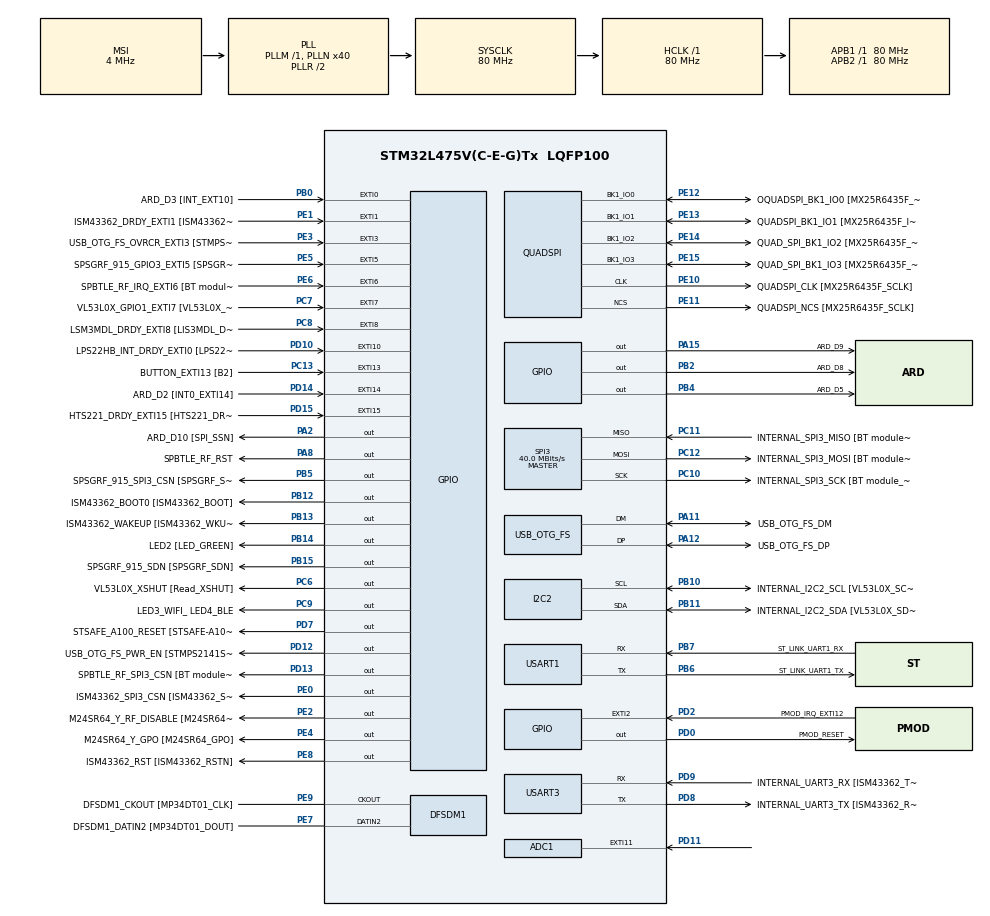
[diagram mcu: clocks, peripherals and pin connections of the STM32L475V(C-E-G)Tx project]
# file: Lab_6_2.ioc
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ADC1.Channel-0\#ChannelRegularConversion=ADC_CHANNEL_TEMPSENSOR
ADC1.ClockPrescaler=ADC_CLOCK_SYNC_PCLK_DIV4
ADC1.DMAContinuousRequests=ENABLE
ADC1.ExternalTrigConv=ADC_EXTERNALTRIG_T1_TRGO
ADC1.NbrOfConversionFlag=1
ADC1.OffsetNumber-0\#ChannelRegularConversion=ADC_OFFSET_NONE
ADC1.Rank-0\#ChannelRegularConversion=1
ADC1.SamplingTime-0\#ChannelRegularConversion=ADC_SAMPLETIME_640CYCLES_5
ADC1.master=1
Dma.ADC1.0.Direction=DMA_PERIPH_TO_MEMORY
Dma.ADC1.0.Instance=DMA1_Channel1
Dma.ADC1.0.MemDataAlignment=DMA_MDATAALIGN_HALFWORD
Dma.ADC1.0.MemInc=DMA_MINC_ENABLE
Dma.ADC1.0.Mode=DMA_CIRCULAR
Dma.ADC1.0.PeriphDataAlignment=DMA_PDATAALIGN_HALFWORD
Dma.ADC1.0.PeriphInc=DMA_PINC_DISABLE
Dma.ADC1.0.Priority=DMA_PRIORITY_LOW
Dma.Request0=ADC1
FREERTOS.Tasks01=defaultTask,24,256,StartDefaultTask,Default,NULL,Dynamic,NULL,NULL;myTask02,24,256,StartTask02,Default,NULL,Dynamic,NULL,NULL
Mcu.Family=STM32L4
Mcu.Name=STM32L475V(C-E-G)Tx
Mcu.Package=LQFP100
NVIC.ADC1_2_IRQn=true\:5\:0\:false\:false\:true\:true\:true\:true\:true
NVIC.DMA1_Channel1_IRQn=true\:5\:0\:false\:false\:true\:true\:false\:true\:true
NVIC.EXTI15_10_IRQn=true\:5\:0\:false\:false\:true\:true\:true\:true\:true
NVIC.EXTI9_5_IRQn=true\:5\:0\:false\:false\:true\:true\:true\:true\:true
NVIC.PriorityGroup=NVIC_PRIORITYGROUP_4
NVIC.TIM2_IRQn=true\:15\:0\:false\:false\:true\:false\:false\:true\:true
NVIC.TimeBase=TIM2_IRQn
NVIC.TimeBaseIP=TIM2
PA0.GPIO_Label=ARD_D1 [UART4_TX]
PA0.Signal=UART4_TX
PA1.GPIO_Label=ARD_D0 [UART4_RX]
PA1.Signal=UART4_RX
PA10.GPIO_Label=USB_OTG_FS_ID
PA10.Signal=USB_OTG_FS_ID
PA11.GPIO_Label=USB_OTG_FS_DM
PA11.Mode=Device_Only
PA11.Signal=USB_OTG_FS_DM
PA12.GPIO_Label=USB_OTG_FS_DP
PA12.Mode=Device_Only
PA12.Signal=USB_OTG_FS_DP
PA13\ (JTMS-SWDIO).GPIO_Label=SYS_JTMS_SWDIO
PA13\ (JTMS-SWDIO).Mode=Serial_Wire
PA13\ (JTMS-SWDIO).Signal=SYS_JTMS-SWDIO
PA14\ (JTCK-SWCLK).GPIO_Label=SYS_JTCK_SWCLK
PA14\ (JTCK-SWCLK).Mode=Serial_Wire
PA14\ (JTCK-SWCLK).Signal=SYS_JTCK-SWCLK
PA15\ (JTDI).GPIO_Label=ARD_D9
PA15\ (JTDI).Signal=GPIO_Output
PA2.GPIO_Label=ARD_D10 [SPI_SSN]
PA2.Signal=GPIO_Output
PA3.GPIO_Label=ARD_D4
PA3.Signal=S_TIM2_CH4
PA4.GPIO_Label=ARD_D7
PA4.Signal=ADCx_IN9
PA5.GPIO_Label=ARD_D13 [SPI1_SCK]
PA5.Signal=SPI1_SCK
PA6.GPIO_Label=ARD_D12 [SPI1_MISO]
PA6.Signal=SPI1_MISO
PA7.GPIO_Label=ARD_D11 [SPI1_MOSI]
PA7.Signal=SPI1_MOSI
PA8.GPIO_Label=SPBTLE_RF_RST
PA8.Signal=GPIO_Output
PA9.GPIO_Label=USB_OTG_FS_VBUS [STMPS2141STR_OUT]
PA9.Signal=USB_OTG_FS_VBUS
PB0.GPIO_Label=ARD_D3 [INT_EXT10]
PB0.Signal=GPXTI0
PB1.GPIO_Label=ARD_D6 [ADC1_IN6]
PB1.Signal=ADCx_IN16
PB10.GPIO_Label=INTERNAL_I2C2_SCL [VL53L0X_SCL]
PB10.GPIO_Pu=GPIO_PULLUP
PB10.Mode=I2C
PB10.Signal=I2C2_SCL
PB11.GPIO_Label=INTERNAL_I2C2_SDA [VL53L0X_SDA]
PB11.GPIO_Pu=GPIO_PULLUP
PB11.Mode=I2C
PB11.Signal=I2C2_SDA
PB12.GPIO_Label=ISM43362_BOOT0 [ISM43362_BOOT]
PB12.Signal=GPIO_Output
PB13.GPIO_Label=ISM43362_WAKEUP [ISM43362_WKUP]
PB13.Signal=GPIO_Output
PB14.GPIO_Label=LED2 [LED_GREEN]
PB14.Signal=GPIO_Output
PB15.GPIO_Label=SPSGRF_915_SDN [SPSGRF_SDN]
PB15.Signal=GPIO_Output
PB2.GPIO_Label=ARD_D8
PB2.Signal=GPIO_Output
PB3\ (JTDO-TRACESWO).GPIO_Label=SYS_JTD0_SWO
PB3\ (JTDO-TRACESWO).Signal=SYS_JTDO-SWO
PB4\ (NJTRST).GPIO_Label=ARD_D5
PB4\ (NJTRST).Signal=GPIO_Output
PB5.GPIO_Label=SPSGRF_915_SPI3_CSN [SPSGRF_SPI_CS]
PB5.PinState=GPIO_PIN_SET
PB5.Signal=GPIO_Output
PB6.GPIO_Label=ST_LINK_UART1_TX
PB6.Mode=Asynchronous
PB6.Signal=USART1_TX
PB7.GPIO_Label=ST_LINK_UART1_RX
PB7.Mode=Asynchronous
PB7.Signal=USART1_RX
PB8.GPIO_Label=ARD_D15 [I2C1_SCL]
PB8.Signal=I2C1_SCL
PB9.GPIO_Label=ARD_D14 [I2C1_SDA]
PB9.Signal=I2C1_SDA
PC0.GPIO_Label=ARD_A5 [ADC]
PC0.Signal=ADCx_IN1
PC1.GPIO_Label=ARD_A4 [ADC]
PC1.Signal=ADCx_IN2
PC10.GPIO_Label=INTERNAL_SPI3_SCK [BT module_SPI_SCLK] [ISM43362_SCK]
PC10.Mode=Full_Duplex_Master
PC10.Signal=SPI3_SCK
PC11.GPIO_Label=INTERNAL_SPI3_MISO [BT module_SPI_MISO] [ISM43362_MISO]
PC11.Mode=Full_Duplex_Master
PC11.Signal=SPI3_MISO
PC12.GPIO_Label=INTERNAL_SPI3_MOSI [BT module_SPI_MOSI] [ISM43362_MOSI]
PC12.Mode=Full_Duplex_Master
PC12.Signal=SPI3_MOSI
PC13.GPIO_Label=BUTTON_EXTI13 [B2]
PC13.GPIO_ModeDefaultEXTI=GPIO_MODE_IT_FALLING
PC13.Signal=GPXTI13
PC14-OSC32_IN\ (PC14).Mode=LSE-External-Oscillator
PC14-OSC32_IN\ (PC14).Signal=RCC_OSC32_IN
PC15-OSC32_OUT\ (PC15).Mode=LSE-External-Oscillator
PC15-OSC32_OUT\ (PC15).Signal=RCC_OSC32_OUT
PC2.GPIO_Label=ARD_A3 [ADC]
PC2.Signal=ADCx_IN3
PC3.GPIO_Label=ARD_A2 [ADC]
PC3.Signal=ADCx_IN4
PC4.GPIO_Label=ARD_A1 [ADC]
PC4.Signal=ADCx_IN13
PC5.GPIO_Label=ARD_A0 [ADC]
PC5.Signal=ADCx_IN14
PC6.GPIO_Label=VL53L0X_XSHUT [Read_XSHUT]
PC6.Signal=GPIO_Output
PC7.GPIO_Label=VL53L0X_GPIO1_EXTI7 [VL53L0X_GPIO1]
PC7.Signal=GPXTI7
PC8.GPIO_Label=LSM3MDL_DRDY_EXTI8 [LIS3MDL_DRDY]
PC8.Signal=GPXTI8
PC9.GPIO_Label=LED3_WIFI_ LED4_BLE
PC9.Signal=GPIO_Output
PD0.GPIO_Label=PMOD_RESET
PD0.Signal=GPIO_Output
PD1.GPIO_Label=PMOD_SPI2_SCK
PD1.Signal=SPI2_SCK
PD10.GPIO_Label=LPS22HB_INT_DRDY_EXTI0 [LPS22HB_INT_DRDY] 
PD10.Signal=GPXTI10
PD11.Signal=GPXTI11
PD12.GPIO_Label=USB_OTG_FS_PWR_EN [STMPS2141STR_EN]
PD12.Signal=GPIO_Output
PD13.GPIO_Label=SPBTLE_RF_SPI3_CSN [BT module_SPI_CS]
PD13.PinState=GPIO_PIN_SET
PD13.Signal=GPIO_Output
PD14.GPIO_Label=ARD_D2 [INT0_EXTI14]
PD14.Signal=GPXTI14
PD15.GPIO_Label=HTS221_DRDY_EXTI15 [HTS221_DRDY]
PD15.Signal=GPXTI15
PD2.GPIO_Label=PMOD_IRQ_EXTI12
PD2.Signal=GPXTI2
PD3.GPIO_Label=PMOD_UART2_CTS
PD3.Signal=USART2_CTS
PD4.GPIO_Label=PMOD_UART2_RTS
PD4.Signal=USART2_RTS
PD5.GPIO_Label=PMOD_UART2_TX
PD5.Signal=USART2_TX
PD6.GPIO_Label=PMOD_UART2_RX
PD6.Signal=USART2_RX
PD7.GPIO_Label=STSAFE_A100_RESET [STSAFE-A100_RESET]
PD7.Signal=GPIO_Output
PD8.GPIO_Label=INTERNAL_UART3_TX [ISM43362_RX]
PD8.Mode=Asynchronous
PD8.Signal=USART3_TX
PD9.GPIO_Label=INTERNAL_UART3_RX [ISM43362_TX]
PD9.Mode=Asynchronous
PD9.Signal=USART3_RX
PE0.GPIO_Label=ISM43362_SPI3_CSN [ISM43362_SSN]
PE0.PinState=GPIO_PIN_SET
PE0.Signal=GPIO_Output
PE1.GPIO_Label=ISM43362_DRDY_EXTI1 [ISM43362_DATARDY]
PE1.Signal=GPXTI1
PE10.GPIO_Label=QUADSPI_CLK [MX25R6435F_SCLK]
PE10.Mode=Single Bank
PE10.Signal=QUADSPI_CLK
PE11.GPIO_Label=QUADSPI_NCS [MX25R6435F_SCLK]
PE11.Mode=Single Bank
PE11.Signal=QUADSPI_NCS
PE12.GPIO_Label=OQUADSPI_BK1_IO0 [MX25R6435F_IO0]
PE12.Mode=Single Bank
PE12.Signal=QUADSPI_BK1_IO0
PE13.GPIO_Label=QUADSPI_BK1_IO1 [MX25R6435F_IO1]
PE13.Mode=Single Bank
PE13.Signal=QUADSPI_BK1_IO1
PE14.GPIO_Label=QUAD_SPI_BK1_IO2 [MX25R6435F_IO2]
PE14.Mode=Single Bank
PE14.Signal=QUADSPI_BK1_IO2
PE15.GPIO_Label=QUAD_SPI_BK1_IO3 [MX25R6435F_IO3]
PE15.Mode=Single Bank
PE15.Signal=QUADSPI_BK1_IO3
PE2.GPIO_Label=M24SR64_Y_RF_DISABLE [M24SR64_RFDIS]
PE2.Signal=GPIO_Output
PE3.GPIO_Label=USB_OTG_FS_OVRCR_EXTI3 [STMPS2141STR_FAULT]
PE3.Signal=GPXTI3
PE4.GPIO_Label=M24SR64_Y_GPO [M24SR64_GPO]
PE4.Signal=GPIO_Output
PE5.GPIO_Label=SPSGRF_915_GPIO3_EXTI5 [SPSGRF_GPIO_3]
PE5.Signal=GPXTI5
PE6.GPIO_Label=SPBTLE_RF_IRQ_EXTI6 [BT module_SPI_IRQ]
PE6.Signal=GPXTI6
PE7.GPIO_Label=DFSDM1_DATIN2 [MP34DT01_DOUT]
PE7.Signal=S_DATAIN2DFSDM1
PE8.GPIO_Label=ISM43362_RST [ISM43362_RSTN]
PE8.Signal=GPIO_Output
PE9.GPIO_Label=DFSDM1_CKOUT [MP34DT01_CLK]
PE9.Signal=S_CKOUTDFSDM1
PH0-OSC_IN\ (PH0).Mode=HSE-External-Oscillator
PH0-OSC_IN\ (PH0).Signal=RCC_OSC_IN
PH1-OSC_OUT\ (PH1).Mode=HSE-External-Oscillator
PH1-OSC_OUT\ (PH1).Signal=RCC_OSC_OUT
ProjectManager.HeapSize=0x200
ProjectManager.StackSize=0x400
ProjectManager.TargetToolchain=STM32CubeIDE
QUADSPI.ClockPrescaler=2
QUADSPI.FifoThreshold=4
QUADSPI.FlashSize=23
QUADSPI.SampleShifting=QSPI_SAMPLE_SHIFTING_HALFCYCLE
RCC.ADCFreq_Value=48000000
RCC.AHBFreq_Value=80000000
RCC.APB1Freq_Value=80000000
RCC.APB1TimFreq_Value=80000000
RCC.APB2Freq_Value=80000000
RCC.APB2TimFreq_Value=80000000
RCC.CortexFreq_Value=80000000
RCC.HCLKFreq_Value=80000000
RCC.HSE_VALUE=8000000
RCC.HSI_VALUE=16000000
RCC.MSI_VALUE=4000000
RCC.PLLN=40
RCC.PLLSAI1N=24
RCC.SYSCLKFreq_VALUE=80000000
RCC.SYSCLKSource=RCC_SYSCLKSOURCE_PLLCLK
RCC.USBFreq_Value=48000000
RCC.VCOOutputFreq_Value=160000000
SH.ADCx_IN1.0=ADC1_IN1
SH.ADCx_IN13.0=ADC1_IN13
SH.ADCx_IN14.0=ADC1_IN14
SH.ADCx_IN16.0=ADC1_IN16
SH.ADCx_IN2.0=ADC1_IN2
SH.ADCx_IN3.0=ADC1_IN3
SH.ADCx_IN4.0=ADC1_IN4
SH.ADCx_IN9.0=ADC1_IN9
SH.S_CKOUTDFSDM1.0=DFSDM1_CKOUT,CKOUT
SH.S_CKOUTDFSDM1.1=DFSDM1_CKOUT,PDM_SPI_Input_from_ch12_and_Internal_Clock
SH.S_DATAIN2DFSDM1.0=DFSDM1_DATIN2,PDM_SPI_Input_from_ch12_and_Internal_Clock
SH.S_TIM2_CH4.0=TIM2_CH4
SPI3.CalculateBaudRate=40.0 MBits/s
SPI3.Direction=SPI_DIRECTION_2LINES
SPI3.Mode=SPI_MODE_MASTER
SPI3.VirtualType=VM_MASTER
TIM1.Period=999
TIM1.Prescaler=3999
TIM1.TIM_MasterOutputTrigger=TIM_TRGO_UPDATE
USART1.VirtualMode-Asynchronous=VM_ASYNC
USART3.VirtualMode-Asynchronous=VM_ASYNC
USB_OTG_FS.VirtualMode=Device_Only
VP_ADC1_TempSens_Input.Mode=IN-TempSens
VP_FREERTOS_VS_CMSIS_V2.Mode=CMSIS_V2
VP_SYS_VS_tim2.Mode=TIM2
VP_TIM1_VS_ClockSourceINT.Mode=Internal
board=B-L475E-IOT01A2

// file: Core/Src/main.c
/* USER CODE BEGIN Header */
/**
  ******************************************************************************
  * @file           : main.c
  * @brief          : Main program body
  ******************************************************************************
  * @attention
  *
  * Copyright (c) 2026 STMicroelectronics.
  * All rights reserved.
  *
  * This software is licensed under terms that can be found in the LICENSE file
  * in the root directory of this software component.
  * If no LICENSE file comes with this software, it is provided AS-IS.
  *
  ******************************************************************************
  */
/* USER CODE END Header */
#include "main.h"
#include "cmsis_os.h"

/* USER CODE BEGIN Includes */
#include <stdio.h>
/* USER CODE END Includes */

ADC_HandleTypeDef hadc1;
DMA_HandleTypeDef hdma_adc1;

DFSDM_Channel_HandleTypeDef hdfsdm1_channel1;

I2C_HandleTypeDef hi2c2;

QSPI_HandleTypeDef hqspi;

SPI_HandleTypeDef hspi3;

TIM_HandleTypeDef htim1;

UART_HandleTypeDef huart1;
UART_HandleTypeDef huart3;

PCD_HandleTypeDef hpcd_USB_OTG_FS;

/* Definitions for defaultTask */
osThreadId_t defaultTaskHandle;
const osThreadAttr_t defaultTask_attributes = {
  .name = "defaultTask",
  .stack_size = 256 * 4,
  .priority = (osPriority_t) osPriorityNormal,
};
/* Definitions for myTask02 */
osThreadId_t myTask02Handle;
const osThreadAttr_t myTask02_attributes = {
  .name = "myTask02",
  .stack_size = 256 * 4,
  .priority = (osPriority_t) osPriorityNormal,
};
/* USER CODE BEGIN PV */
#define SAMPLE_BUFFER_SIZE  256
#define ADC_EVENT_HALF      0x0001U
#define ADC_EVENT_FULL      0x0002U

uint16_t sample_buffer[SAMPLE_BUFFER_SIZE];
/* USER CODE END PV */

void SystemClock_Config(void);
void PeriphCommonClock_Config(void);
static void MX_GPIO_Init(void);
static void MX_DMA_Init(void);
static void MX_DFSDM1_Init(void);
static void MX_I2C2_Init(void);
static void MX_QUADSPI_Init(void);
static void MX_SPI3_Init(void);
static void MX_USART1_UART_Init(void);
static void MX_USART3_UART_Init(void);
static void MX_USB_OTG_FS_PCD_Init(void);
static void MX_ADC1_Init(void);
static void MX_TIM1_Init(void);
void StartDefaultTask(void *argument);
void StartTask02(void *argument);

int main(void)
{

  /* MCU Configuration--------------------------------------------------------*/

  /* Reset of all peripherals, Initializes the Flash interface and the Systick. */
  HAL_Init();

  /* Configure the system clock */
  SystemClock_Config();

  /* Configure the peripherals common clocks */
  PeriphCommonClock_Config();

  /* Initialize all configured peripherals */
  MX_GPIO_Init();
  MX_DMA_Init();
  MX_DFSDM1_Init();
  MX_I2C2_Init();
  MX_QUADSPI_Init();
  MX_SPI3_Init();
  MX_USART1_UART_Init();
  MX_USART3_UART_Init();
  MX_USB_OTG_FS_PCD_Init();
  MX_ADC1_Init();
  MX_TIM1_Init();

  /* Init scheduler */
  osKernelInitialize();

  /* Create the thread(s) */
  /* creation of defaultTask */
  defaultTaskHandle = osThreadNew(StartDefaultTask, NULL, &defaultTask_attributes);

  /* creation of myTask02 */
  myTask02Handle = osThreadNew(StartTask02, NULL, &myTask02_attributes);

  /* USER CODE BEGIN RTOS_THREADS */
  if (HAL_ADCEx_Calibration_Start(&hadc1, ADC_SINGLE_ENDED) != HAL_OK)
  {
    Error_Handler();
  }

  if (HAL_ADC_Start_DMA(&hadc1, (uint32_t *)sample_buffer, SAMPLE_BUFFER_SIZE) != HAL_OK)
  {
    Error_Handler();
  }

  if (HAL_TIM_Base_Start(&htim1) != HAL_OK)
  {
    Error_Handler();
  }
  /* USER CODE END RTOS_THREADS */

  /* Start scheduler */
  osKernelStart();

  /* We should never get here as control is now taken by the scheduler */

  /* Infinite loop */
  while (1)
  {

  }
}

void SystemClock_Config(void)
{
  RCC_OscInitTypeDef RCC_OscInitStruct = {0};
  RCC_ClkInitTypeDef RCC_ClkInitStruct = {0};

  /** Configure the main internal regulator output voltage
  */
  if (HAL_PWREx_ControlVoltageScaling(PWR_REGULATOR_VOLTAGE_SCALE1) != HAL_OK)
  {
    Error_Handler();
  }

  /** Configure LSE Drive Capability
  */
  HAL_PWR_EnableBkUpAccess();
  __HAL_RCC_LSEDRIVE_CONFIG(RCC_LSEDRIVE_LOW);

  /** Initializes the RCC Oscillators according to the specified parameters
  * in the RCC_OscInitTypeDef structure.
  */
  RCC_OscInitStruct.OscillatorType = RCC_OSCILLATORTYPE_LSE|RCC_OSCILLATORTYPE_MSI;
  RCC_OscInitStruct.LSEState = RCC_LSE_ON;
  RCC_OscInitStruct.MSIState = RCC_MSI_ON;
  RCC_OscInitStruct.MSICalibrationValue = 0;
  RCC_OscInitStruct.MSIClockRange = RCC_MSIRANGE_6;
  RCC_OscInitStruct.PLL.PLLState = RCC_PLL_ON;
  RCC_OscInitStruct.PLL.PLLSource = RCC_PLLSOURCE_MSI;
  RCC_OscInitStruct.PLL.PLLM = 1;
  RCC_OscInitStruct.PLL.PLLN = 40;
  RCC_OscInitStruct.PLL.PLLP = RCC_PLLP_DIV7;
  RCC_OscInitStruct.PLL.PLLQ = RCC_PLLQ_DIV2;
  RCC_OscInitStruct.PLL.PLLR = RCC_PLLR_DIV2;
  if (HAL_RCC_OscConfig(&RCC_OscInitStruct) != HAL_OK)
  {
    Error_Handler();
  }

  /** Initializes the CPU, AHB and APB buses clocks
  */
  RCC_ClkInitStruct.ClockType = RCC_CLOCKTYPE_HCLK|RCC_CLOCKTYPE_SYSCLK
                              |RCC_CLOCKTYPE_PCLK1|RCC_CLOCKTYPE_PCLK2;
  RCC_ClkInitStruct.SYSCLKSource = RCC_SYSCLKSOURCE_PLLCLK;
  RCC_ClkInitStruct.AHBCLKDivider = RCC_SYSCLK_DIV1;
  RCC_ClkInitStruct.APB1CLKDivider = RCC_HCLK_DIV1;
  RCC_ClkInitStruct.APB2CLKDivider = RCC_HCLK_DIV1;

  if (HAL_RCC_ClockConfig(&RCC_ClkInitStruct, FLASH_LATENCY_4) != HAL_OK)
  {
    Error_Handler();
  }

  /** Enable MSI Auto calibration
  */
  HAL_RCCEx_EnableMSIPLLMode();
}

void PeriphCommonClock_Config(void)
{
  RCC_PeriphCLKInitTypeDef PeriphClkInit = {0};

  /** Initializes the peripherals clock
  */
  PeriphClkInit.PeriphClockSelection = RCC_PERIPHCLK_USB;
  PeriphClkInit.UsbClockSelection = RCC_USBCLKSOURCE_PLLSAI1;
  PeriphClkInit.PLLSAI1.PLLSAI1Source = RCC_PLLSOURCE_MSI;
  PeriphClkInit.PLLSAI1.PLLSAI1M = 1;
  PeriphClkInit.PLLSAI1.PLLSAI1N = 24;
  PeriphClkInit.PLLSAI1.PLLSAI1P = RCC_PLLP_DIV7;
  PeriphClkInit.PLLSAI1.PLLSAI1Q = RCC_PLLQ_DIV2;
  PeriphClkInit.PLLSAI1.PLLSAI1R = RCC_PLLR_DIV2;
  PeriphClkInit.PLLSAI1.PLLSAI1ClockOut = RCC_PLLSAI1_48M2CLK;
  if (HAL_RCCEx_PeriphCLKConfig(&PeriphClkInit) != HAL_OK)
  {
    Error_Handler();
  }
}

static void MX_ADC1_Init(void)
{

  ADC_MultiModeTypeDef multimode = {0};
  ADC_ChannelConfTypeDef sConfig = {0};

  /** Common config
  */
  hadc1.Instance = ADC1;
  hadc1.Init.ClockPrescaler = ADC_CLOCK_SYNC_PCLK_DIV4;
  hadc1.Init.Resolution = ADC_RESOLUTION_12B;
  hadc1.Init.DataAlign = ADC_DATAALIGN_RIGHT;
  hadc1.Init.ScanConvMode = ADC_SCAN_DISABLE;
  hadc1.Init.EOCSelection = ADC_EOC_SINGLE_CONV;
  hadc1.Init.LowPowerAutoWait = DISABLE;
  hadc1.Init.ContinuousConvMode = DISABLE;
  hadc1.Init.NbrOfConversion = 1;
  hadc1.Init.DiscontinuousConvMode = DISABLE;
  hadc1.Init.ExternalTrigConv = ADC_EXTERNALTRIG_T1_TRGO;
  hadc1.Init.ExternalTrigConvEdge = ADC_EXTERNALTRIGCONVEDGE_RISING;
  hadc1.Init.DMAContinuousRequests = ENABLE;
  hadc1.Init.Overrun = ADC_OVR_DATA_PRESERVED;
  hadc1.Init.OversamplingMode = DISABLE;
  if (HAL_ADC_Init(&hadc1) != HAL_OK)
  {
    Error_Handler();
  }

  /** Configure the ADC multi-mode
  */
  multimode.Mode = ADC_MODE_INDEPENDENT;
  if (HAL_ADCEx_MultiModeConfigChannel(&hadc1, &multimode) != HAL_OK)
  {
    Error_Handler();
  }

  /** Configure Regular Channel
  */
  sConfig.Channel = ADC_CHANNEL_TEMPSENSOR;
  sConfig.Rank = ADC_REGULAR_RANK_1;
  sConfig.SamplingTime = ADC_SAMPLETIME_640CYCLES_5;
  sConfig.SingleDiff = ADC_SINGLE_ENDED;
  sConfig.OffsetNumber = ADC_OFFSET_NONE;
  sConfig.Offset = 0;
  if (HAL_ADC_ConfigChannel(&hadc1, &sConfig) != HAL_OK)
  {
    Error_Handler();
  }

}

static void MX_DFSDM1_Init(void)
{

  hdfsdm1_channel1.Instance = DFSDM1_Channel1;
  hdfsdm1_channel1.Init.OutputClock.Activation = ENABLE;
  hdfsdm1_channel1.Init.OutputClock.Selection = DFSDM_CHANNEL_OUTPUT_CLOCK_SYSTEM;
  hdfsdm1_channel1.Init.OutputClock.Divider = 2;
  hdfsdm1_channel1.Init.Input.Multiplexer = DFSDM_CHANNEL_EXTERNAL_INPUTS;
  hdfsdm1_channel1.Init.Input.DataPacking = DFSDM_CHANNEL_STANDARD_MODE;
  hdfsdm1_channel1.Init.Input.Pins = DFSDM_CHANNEL_FOLLOWING_CHANNEL_PINS;
  hdfsdm1_channel1.Init.SerialInterface.Type = DFSDM_CHANNEL_SPI_RISING;
  hdfsdm1_channel1.Init.SerialInterface.SpiClock = DFSDM_CHANNEL_SPI_CLOCK_INTERNAL;
  hdfsdm1_channel1.Init.Awd.FilterOrder = DFSDM_CHANNEL_FASTSINC_ORDER;
  hdfsdm1_channel1.Init.Awd.Oversampling = 1;
  hdfsdm1_channel1.Init.Offset = 0;
  hdfsdm1_channel1.Init.RightBitShift = 0x00;
  if (HAL_DFSDM_ChannelInit(&hdfsdm1_channel1) != HAL_OK)
  {
    Error_Handler();
  }

}

static void MX_I2C2_Init(void)
{

  hi2c2.Instance = I2C2;
  hi2c2.Init.Timing = 0x00000E14;
  hi2c2.Init.OwnAddress1 = 0;
  hi2c2.Init.AddressingMode = I2C_ADDRESSINGMODE_7BIT;
  hi2c2.Init.DualAddressMode = I2C_DUALADDRESS_DISABLE;
  hi2c2.Init.OwnAddress2 = 0;
  hi2c2.Init.OwnAddress2Masks = I2C_OA2_NOMASK;
  hi2c2.Init.GeneralCallMode = I2C_GENERALCALL_DISABLE;
  hi2c2.Init.NoStretchMode = I2C_NOSTRETCH_DISABLE;
  if (HAL_I2C_Init(&hi2c2) != HAL_OK)
  {
    Error_Handler();
  }

  /** Configure Analogue filter
  */
  if (HAL_I2CEx_ConfigAnalogFilter(&hi2c2, I2C_ANALOGFILTER_ENABLE) != HAL_OK)
  {
    Error_Handler();
  }

  /** Configure Digital filter
  */
  if (HAL_I2CEx_ConfigDigitalFilter(&hi2c2, 0) != HAL_OK)
  {
    Error_Handler();
  }

}

static void MX_QUADSPI_Init(void)
{

  /* QUADSPI parameter configuration*/
  hqspi.Instance = QUADSPI;
  hqspi.Init.ClockPrescaler = 2;
  hqspi.Init.FifoThreshold = 4;
  hqspi.Init.SampleShifting = QSPI_SAMPLE_SHIFTING_HALFCYCLE;
  hqspi.Init.FlashSize = 23;
  hqspi.Init.ChipSelectHighTime = QSPI_CS_HIGH_TIME_1_CYCLE;
  hqspi.Init.ClockMode = QSPI_CLOCK_MODE_0;
  if (HAL_QSPI_Init(&hqspi) != HAL_OK)
  {
    Error_Handler();
  }

}

static void MX_SPI3_Init(void)
{

  /* SPI3 parameter configuration*/
  hspi3.Instance = SPI3;
  hspi3.Init.Mode = SPI_MODE_MASTER;
  hspi3.Init.Direction = SPI_DIRECTION_2LINES;
  hspi3.Init.DataSize = SPI_DATASIZE_4BIT;
  hspi3.Init.CLKPolarity = SPI_POLARITY_LOW;
  hspi3.Init.CLKPhase = SPI_PHASE_1EDGE;
  hspi3.Init.NSS = SPI_NSS_SOFT;
  hspi3.Init.BaudRatePrescaler = SPI_BAUDRATEPRESCALER_2;
  hspi3.Init.FirstBit = SPI_FIRSTBIT_MSB;
  hspi3.Init.TIMode = SPI_TIMODE_DISABLE;
  hspi3.Init.CRCCalculation = SPI_CRCCALCULATION_DISABLE;
  hspi3.Init.CRCPolynomial = 7;
  hspi3.Init.CRCLength = SPI_CRC_LENGTH_DATASIZE;
  hspi3.Init.NSSPMode = SPI_NSS_PULSE_ENABLE;
  if (HAL_SPI_Init(&hspi3) != HAL_OK)
  {
    Error_Handler();
  }

}

static void MX_TIM1_Init(void)
{

  TIM_ClockConfigTypeDef sClockSourceConfig = {0};
  TIM_MasterConfigTypeDef sMasterConfig = {0};

  htim1.Instance = TIM1;
  htim1.Init.Prescaler = 3999;
  htim1.Init.CounterMode = TIM_COUNTERMODE_UP;
  htim1.Init.Period = 999;
  htim1.Init.ClockDivision = TIM_CLOCKDIVISION_DIV1;
  htim1.Init.RepetitionCounter = 0;
  htim1.Init.AutoReloadPreload = TIM_AUTORELOAD_PRELOAD_DISABLE;
  if (HAL_TIM_Base_Init(&htim1) != HAL_OK)
  {
    Error_Handler();
  }
  sClockSourceConfig.ClockSource = TIM_CLOCKSOURCE_INTERNAL;
  if (HAL_TIM_ConfigClockSource(&htim1, &sClockSourceConfig) != HAL_OK)
  {
    Error_Handler();
  }
  sMasterConfig.MasterOutputTrigger = TIM_TRGO_UPDATE;
  sMasterConfig.MasterOutputTrigger2 = TIM_TRGO2_RESET;
  sMasterConfig.MasterSlaveMode = TIM_MASTERSLAVEMODE_DISABLE;
  if (HAL_TIMEx_MasterConfigSynchronization(&htim1, &sMasterConfig) != HAL_OK)
  {
    Error_Handler();
  }

}

static void MX_USART1_UART_Init(void)
{

  huart1.Instance = USART1;
  huart1.Init.BaudRate = 115200;
  huart1.Init.WordLength = UART_WORDLENGTH_8B;
  huart1.Init.StopBits = UART_STOPBITS_1;
  huart1.Init.Parity = UART_PARITY_NONE;
  huart1.Init.Mode = UART_MODE_TX_RX;
  huart1.Init.HwFlowCtl = UART_HWCONTROL_NONE;
  huart1.Init.OverSampling = UART_OVERSAMPLING_16;
  huart1.Init.OneBitSampling = UART_ONE_BIT_SAMPLE_DISABLE;
  huart1.AdvancedInit.AdvFeatureInit = UART_ADVFEATURE_NO_INIT;
  if (HAL_UART_Init(&huart1) != HAL_OK)
  {
    Error_Handler();
  }

}

static void MX_USART3_UART_Init(void)
{

  huart3.Instance = USART3;
  huart3.Init.BaudRate = 115200;
  huart3.Init.WordLength = UART_WORDLENGTH_8B;
  huart3.Init.StopBits = UART_STOPBITS_1;
  huart3.Init.Parity = UART_PARITY_NONE;
  huart3.Init.Mode = UART_MODE_TX_RX;
  huart3.Init.HwFlowCtl = UART_HWCONTROL_NONE;
  huart3.Init.OverSampling = UART_OVERSAMPLING_16;
  huart3.Init.OneBitSampling = UART_ONE_BIT_SAMPLE_DISABLE;
  huart3.AdvancedInit.AdvFeatureInit = UART_ADVFEATURE_NO_INIT;
  if (HAL_UART_Init(&huart3) != HAL_OK)
  {
    Error_Handler();
  }

}

static void MX_USB_OTG_FS_PCD_Init(void)
{

  hpcd_USB_OTG_FS.Instance = USB_OTG_FS;
  hpcd_USB_OTG_FS.Init.dev_endpoints = 6;
  hpcd_USB_OTG_FS.Init.speed = PCD_SPEED_FULL;
  hpcd_USB_OTG_FS.Init.phy_itface = PCD_PHY_EMBEDDED;
  hpcd_USB_OTG_FS.Init.Sof_enable = DISABLE;
  hpcd_USB_OTG_FS.Init.low_power_enable = DISABLE;
  hpcd_USB_OTG_FS.Init.lpm_enable = DISABLE;
  hpcd_USB_OTG_FS.Init.battery_charging_enable = DISABLE;
  hpcd_USB_OTG_FS.Init.use_dedicated_ep1 = DISABLE;
  hpcd_USB_OTG_FS.Init.vbus_sensing_enable = DISABLE;
  if (HAL_PCD_Init(&hpcd_USB_OTG_FS) != HAL_OK)
  {
    Error_Handler();
  }

}

static void MX_DMA_Init(void)
{

  /* DMA controller clock enable */
  __HAL_RCC_DMA1_CLK_ENABLE();

  /* DMA interrupt init */
  /* DMA1_Channel1_IRQn interrupt configuration */
  HAL_NVIC_SetPriority(DMA1_Channel1_IRQn, 5, 0);
  HAL_NVIC_EnableIRQ(DMA1_Channel1_IRQn);

}

static void MX_GPIO_Init(void)
{
  GPIO_InitTypeDef GPIO_InitStruct = {0};

  /* GPIO Ports Clock Enable */
  __HAL_RCC_GPIOE_CLK_ENABLE();
  __HAL_RCC_GPIOC_CLK_ENABLE();
  __HAL_RCC_GPIOH_CLK_ENABLE();
  __HAL_RCC_GPIOA_CLK_ENABLE();
  __HAL_RCC_GPIOB_CLK_ENABLE();
  __HAL_RCC_GPIOD_CLK_ENABLE();

  /*Configure GPIO pin Output Level */
  HAL_GPIO_WritePin(GPIOE, M24SR64_Y_RF_DISABLE_Pin|M24SR64_Y_GPO_Pin|ISM43362_RST_Pin, GPIO_PIN_RESET);

  /*Configure GPIO pin Output Level */
  HAL_GPIO_WritePin(GPIOA, ARD_D10_Pin|SPBTLE_RF_RST_Pin|ARD_D9_Pin, GPIO_PIN_RESET);

  /*Configure GPIO pin Output Level */
  HAL_GPIO_WritePin(GPIOB, ARD_D8_Pin|ISM43362_BOOT0_Pin|ISM43362_WAKEUP_Pin|LED2_Pin
                          |SPSGRF_915_SDN_Pin|ARD_D5_Pin, GPIO_PIN_RESET);

  /*Configure GPIO pin Output Level */
  HAL_GPIO_WritePin(GPIOD, USB_OTG_FS_PWR_EN_Pin|PMOD_RESET_Pin|STSAFE_A100_RESET_Pin, GPIO_PIN_RESET);

  /*Configure GPIO pin Output Level */
  HAL_GPIO_WritePin(SPBTLE_RF_SPI3_CSN_GPIO_Port, SPBTLE_RF_SPI3_CSN_Pin, GPIO_PIN_SET);

  /*Configure GPIO pin Output Level */
  HAL_GPIO_WritePin(GPIOC, VL53L0X_XSHUT_Pin|LED3_WIFI__LED4_BLE_Pin, GPIO_PIN_RESET);

  /*Configure GPIO pin Output Level */
  HAL_GPIO_WritePin(SPSGRF_915_SPI3_CSN_GPIO_Port, SPSGRF_915_SPI3_CSN_Pin, GPIO_PIN_SET);

  /*Configure GPIO pin Output Level */
  HAL_GPIO_WritePin(ISM43362_SPI3_CSN_GPIO_Port, ISM43362_SPI3_CSN_Pin, GPIO_PIN_SET);

  /*Configure GPIO pins : M24SR64_Y_RF_DISABLE_Pin M24SR64_Y_GPO_Pin ISM43362_RST_Pin ISM43362_SPI3_CSN_Pin */
  GPIO_InitStruct.Pin = M24SR64_Y_RF_DISABLE_Pin|M24SR64_Y_GPO_Pin|ISM43362_RST_Pin|ISM43362_SPI3_CSN_Pin;
  GPIO_InitStruct.Mode = GPIO_MODE_OUTPUT_PP;
  GPIO_InitStruct.Pull = GPIO_NOPULL;
  GPIO_InitStruct.Speed = GPIO_SPEED_FREQ_LOW;
  HAL_GPIO_Init(GPIOE, &GPIO_InitStruct);

  /*Configure GPIO pins : USB_OTG_FS_OVRCR_EXTI3_Pin SPSGRF_915_GPIO3_EXTI5_Pin SPBTLE_RF_IRQ_EXTI6_Pin ISM43362_DRDY_EXTI1_Pin */
  GPIO_InitStruct.Pin = USB_OTG_FS_OVRCR_EXTI3_Pin|SPSGRF_915_GPIO3_EXTI5_Pin|SPBTLE_RF_IRQ_EXTI6_Pin|ISM43362_DRDY_EXTI1_Pin;
  GPIO_InitStruct.Mode = GPIO_MODE_IT_RISING;
  GPIO_InitStruct.Pull = GPIO_NOPULL;
  HAL_GPIO_Init(GPIOE, &GPIO_InitStruct);

  /*Configure GPIO pin : BUTTON_EXTI13_Pin */
  GPIO_InitStruct.Pin = BUTTON_EXTI13_Pin;
  GPIO_InitStruct.Mode = GPIO_MODE_IT_FALLING;
  GPIO_InitStruct.Pull = GPIO_NOPULL;
  HAL_GPIO_Init(BUTTON_EXTI13_GPIO_Port, &GPIO_InitStruct);

  /*Configure GPIO pins : ARD_D1_Pin ARD_D0_Pin */
  GPIO_InitStruct.Pin = ARD_D1_Pin|ARD_D0_Pin;
  GPIO_InitStruct.Mode = GPIO_MODE_AF_PP;
  GPIO_InitStruct.Pull = GPIO_NOPULL;
  GPIO_InitStruct.Speed = GPIO_SPEED_FREQ_VERY_HIGH;
  GPIO_InitStruct.Alternate = GPIO_AF8_UART4;
  HAL_GPIO_Init(GPIOA, &GPIO_InitStruct);

  /*Configure GPIO pins : ARD_D10_Pin SPBTLE_RF_RST_Pin ARD_D9_Pin */
  GPIO_InitStruct.Pin = ARD_D10_Pin|SPBTLE_RF_RST_Pin|ARD_D9_Pin;
  GPIO_InitStruct.Mode = GPIO_MODE_OUTPUT_PP;
  GPIO_InitStruct.Pull = GPIO_NOPULL;
  GPIO_InitStruct.Speed = GPIO_SPEED_FREQ_LOW;
  HAL_GPIO_Init(GPIOA, &GPIO_InitStruct);

  /*Configure GPIO pin : ARD_D4_Pin */
  GPIO_InitStruct.Pin = ARD_D4_Pin;
  GPIO_InitStruct.Mode = GPIO_MODE_AF_PP;
  GPIO_InitStruct.Pull = GPIO_NOPULL;
  GPIO_InitStruct.Speed = GPIO_SPEED_FREQ_LOW;
  GPIO_InitStruct.Alternate = GPIO_AF1_TIM2;
  HAL_GPIO_Init(ARD_D4_GPIO_Port, &GPIO_InitStruct);

  /*Configure GPIO pins : ARD_D13_Pin ARD_D12_Pin ARD_D11_Pin */
  GPIO_InitStruct.Pin = ARD_D13_Pin|ARD_D12_Pin|ARD_D11_Pin;
  GPIO_InitStruct.Mode = GPIO_MODE_AF_PP;
  GPIO_InitStruct.Pull = GPIO_NOPULL;
  GPIO_InitStruct.Speed = GPIO_SPEED_FREQ_VERY_HIGH;
  GPIO_InitStruct.Alternate = GPIO_AF5_SPI1;
  HAL_GPIO_Init(GPIOA, &GPIO_InitStruct);

  /*Configure GPIO pin : ARD_D3_Pin */
  GPIO_InitStruct.Pin = ARD_D3_Pin;
  GPIO_InitStruct.Mode = GPIO_MODE_IT_RISING;
  GPIO_InitStruct.Pull = GPIO_NOPULL;
  HAL_GPIO_Init(ARD_D3_GPIO_Port, &GPIO_InitStruct);

  /*Configure GPIO pins : ARD_D8_Pin ISM43362_BOOT0_Pin ISM43362_WAKEUP_Pin LED2_Pin
                           SPSGRF_915_SDN_Pin ARD_D5_Pin SPSGRF_915_SPI3_CSN_Pin */
  GPIO_InitStruct.Pin = ARD_D8_Pin|ISM43362_BOOT0_Pin|ISM43362_WAKEUP_Pin|LED2_Pin
                          |SPSGRF_915_SDN_Pin|ARD_D5_Pin|SPSGRF_915_SPI3_CSN_Pin;
  GPIO_InitStruct.Mode = GPIO_MODE_OUTPUT_PP;
  GPIO_InitStruct.Pull = GPIO_NOPULL;
  GPIO_InitStruct.Speed = GPIO_SPEED_FREQ_LOW;
  HAL_GPIO_Init(GPIOB, &GPIO_InitStruct);

  /*Configure GPIO pins : LPS22HB_INT_DRDY_EXTI0_Pin PD11 ARD_D2_Pin HTS221_DRDY_EXTI15_Pin
                           PMOD_IRQ_EXTI12_Pin */
  GPIO_InitStruct.Pin = LPS22HB_INT_DRDY_EXTI0_Pin|GPIO_PIN_11|ARD_D2_Pin|HTS221_DRDY_EXTI15_Pin
                          |PMOD_IRQ_EXTI12_Pin;
  GPIO_InitStruct.Mode = GPIO_MODE_IT_RISING;
  GPIO_InitStruct.Pull = GPIO_NOPULL;
  HAL_GPIO_Init(GPIOD, &GPIO_InitStruct);

  /*Configure GPIO pins : USB_OTG_FS_PWR_EN_Pin SPBTLE_RF_SPI3_CSN_Pin PMOD_RESET_Pin STSAFE_A100_RESET_Pin */
  GPIO_InitStruct.Pin = USB_OTG_FS_PWR_EN_Pin|SPBTLE_RF_SPI3_CSN_Pin|PMOD_RESET_Pin|STSAFE_A100_RESET_Pin;
  GPIO_InitStruct.Mode = GPIO_MODE_OUTPUT_PP;
  GPIO_InitStruct.Pull = GPIO_NOPULL;
  GPIO_InitStruct.Speed = GPIO_SPEED_FREQ_LOW;
  HAL_GPIO_Init(GPIOD, &GPIO_InitStruct);

  /*Configure GPIO pins : VL53L0X_XSHUT_Pin LED3_WIFI__LED4_BLE_Pin */
  GPIO_InitStruct.Pin = VL53L0X_XSHUT_Pin|LED3_WIFI__LED4_BLE_Pin;
  GPIO_InitStruct.Mode = GPIO_MODE_OUTPUT_PP;
  GPIO_InitStruct.Pull = GPIO_NOPULL;
  GPIO_InitStruct.Speed = GPIO_SPEED_FREQ_LOW;
  HAL_GPIO_Init(GPIOC, &GPIO_InitStruct);

  /*Configure GPIO pins : VL53L0X_GPIO1_EXTI7_Pin LSM3MDL_DRDY_EXTI8_Pin */
  GPIO_InitStruct.Pin = VL53L0X_GPIO1_EXTI7_Pin|LSM3MDL_DRDY_EXTI8_Pin;
  GPIO_InitStruct.Mode = GPIO_MODE_IT_RISING;
  GPIO_InitStruct.Pull = GPIO_NOPULL;
  HAL_GPIO_Init(GPIOC, &GPIO_InitStruct);

  /*Configure GPIO pin : PMOD_SPI2_SCK_Pin */
  GPIO_InitStruct.Pin = PMOD_SPI2_SCK_Pin;
  GPIO_InitStruct.Mode = GPIO_MODE_AF_PP;
  GPIO_InitStruct.Pull = GPIO_NOPULL;
  GPIO_InitStruct.Speed = GPIO_SPEED_FREQ_VERY_HIGH;
  GPIO_InitStruct.Alternate = GPIO_AF5_SPI2;
  HAL_GPIO_Init(PMOD_SPI2_SCK_GPIO_Port, &GPIO_InitStruct);

  /*Configure GPIO pins : PMOD_UART2_CTS_Pin PMOD_UART2_RTS_Pin PMOD_UART2_TX_Pin PMOD_UART2_RX_Pin */
  GPIO_InitStruct.Pin = PMOD_UART2_CTS_Pin|PMOD_UART2_RTS_Pin|PMOD_UART2_TX_Pin|PMOD_UART2_RX_Pin;
  GPIO_InitStruct.Mode = GPIO_MODE_AF_PP;
  GPIO_InitStruct.Pull = GPIO_NOPULL;
  GPIO_InitStruct.Speed = GPIO_SPEED_FREQ_VERY_HIGH;
  GPIO_InitStruct.Alternate = GPIO_AF7_USART2;
  HAL_GPIO_Init(GPIOD, &GPIO_InitStruct);

  /*Configure GPIO pins : ARD_D15_Pin ARD_D14_Pin */
  GPIO_InitStruct.Pin = ARD_D15_Pin|ARD_D14_Pin;
  GPIO_InitStruct.Mode = GPIO_MODE_AF_OD;
  GPIO_InitStruct.Pull = GPIO_NOPULL;
  GPIO_InitStruct.Speed = GPIO_SPEED_FREQ_VERY_HIGH;
  GPIO_InitStruct.Alternate = GPIO_AF4_I2C1;
  HAL_GPIO_Init(GPIOB, &GPIO_InitStruct);

  /* EXTI interrupt init*/
  HAL_NVIC_SetPriority(EXTI9_5_IRQn, 5, 0);
  HAL_NVIC_EnableIRQ(EXTI9_5_IRQn);

  HAL_NVIC_SetPriority(EXTI15_10_IRQn, 5, 0);
  HAL_NVIC_EnableIRQ(EXTI15_10_IRQn);

}

/* USER CODE BEGIN 4 */
void HAL_ADC_ConvHalfCpltCallback(ADC_HandleTypeDef *hadc)
{
  if (hadc->Instance == ADC1)
  {
    osThreadFlagsSet(myTask02Handle, ADC_EVENT_HALF);
  }
}

void HAL_ADC_ConvCpltCallback(ADC_HandleTypeDef *hadc)
{
  if (hadc->Instance == ADC1)
  {
    osThreadFlagsSet(myTask02Handle, ADC_EVENT_FULL);
  }
}

int _write(int file, char *ptr, int len)
{
  HAL_UART_Transmit(&huart1, (uint8_t *)ptr, len, HAL_MAX_DELAY);
  return len;
}
/* USER CODE END 4 */

void StartDefaultTask(void *argument)
{
  for(;;)
  {
    osDelay(1);
  }
}

void StartTask02(void *argument)
{
  /* USER CODE BEGIN StartTask02 */
  uint32_t flags;
  /* Infinite loop */
  for(;;)
  {
	flags = osThreadFlagsWait(ADC_EVENT_HALF | ADC_EVENT_FULL,
							  osFlagsWaitAny,
							  osWaitForever);

	if ((flags & ADC_EVENT_HALF) != 0U)
	{
	  printf("=== Half buffer filled ===\r\n");

	  for (int i = 0; i < SAMPLE_BUFFER_SIZE / 2; i++)
	  {
		printf("[Half] buffer[%d] = %u\r\n", i, sample_buffer[i]);
	  }
	}

	if ((flags & ADC_EVENT_FULL) != 0U)
	{
	  printf("=== Full buffer filled ===\r\n");

	  for (int i = SAMPLE_BUFFER_SIZE / 2; i < SAMPLE_BUFFER_SIZE; i++)
	  {
		printf("[Full] buffer[%d] = %u\r\n", i, sample_buffer[i]);
	  }
	}
  }

  /* USER CODE END StartTask02 */
}

void HAL_TIM_PeriodElapsedCallback(TIM_HandleTypeDef *htim)
{
  if (htim->Instance == TIM2)
  {
    HAL_IncTick();
  }
}

void Error_Handler(void)
{
  __disable_irq();
  while (1)
  {
  }
}
